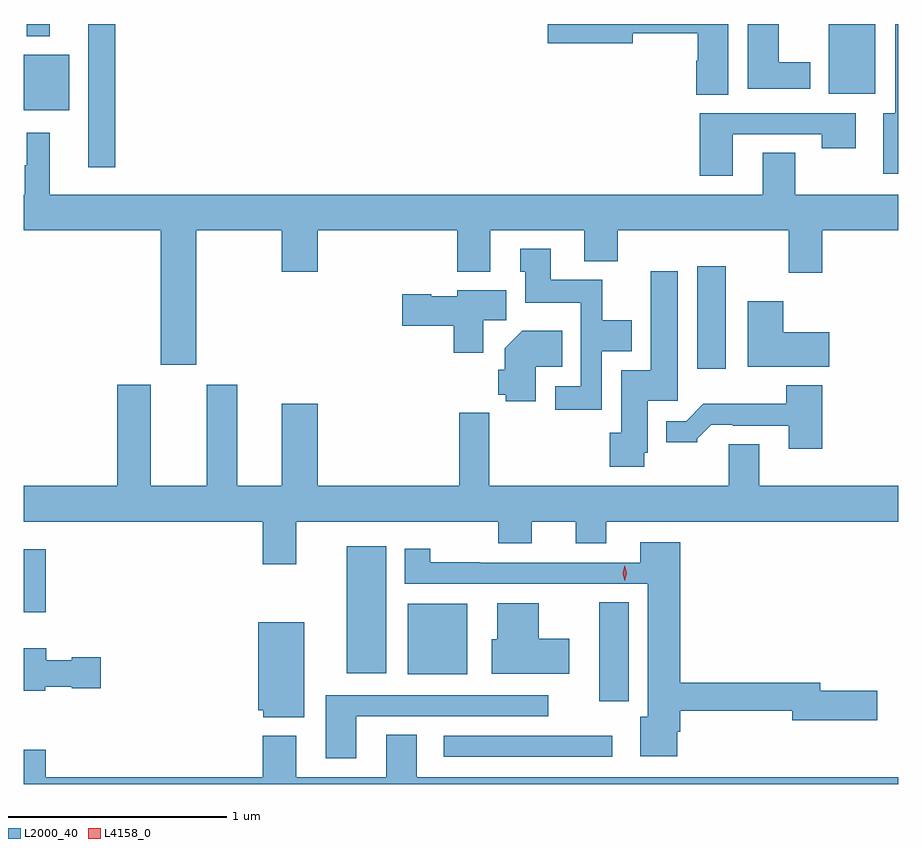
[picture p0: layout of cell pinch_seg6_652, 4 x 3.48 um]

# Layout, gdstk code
import gdstk
lib = gdstk.Library(unit=1e-6, precision=1e-09)
def R(c, l, rs):  # rectangles x0, y0, x1, y1
    for r in rs: c.add(gdstk.rectangle(r[:2], r[2:], *l))
def P(c, l, *ps):  # polygons
    for p in ps: c.add(gdstk.Polygon(p, *l))
L2000_40 = (2000, 40)
L4158_0 = (4158, 0)

pinch_seg6_652 = lib.new_cell('pinch_seg6_652')
R(pinch_seg6_652, L2000_40, [(405.507,915.624,406.279,915.72), (406.22,915.879,406.354,916.331), (405.344,916.001,405.616,916.324), (405.065,916.007,405.244,916.588), (403.587,916.286,403.688,916.573), (406.667,917.4,406.798,917.869), (403.883,918.321,404.005,918.976), (403.587,918.581,403.795,918.835), (407.27,918.656,407.482,918.976), (403.601,918.92,403.705,918.976)])
P(pinch_seg6_652, L2000_40, [(406.81,918.976),(405.984,918.976),(405.984,918.887),(406.372,918.887),(406.372,918.934),(406.669,918.934),(406.669,918.809),(406.664,918.809),(406.664,918.652),(406.81,918.652)],
  [(407.587,918.976),(407.573,918.976),(407.573,918.568),(407.519,918.568),(407.519,918.29),(407.587,918.29)],
  [(407.185,918.802),(407.041,918.802),(407.041,918.976),(406.898,918.976),(406.898,918.68),(407.185,918.68)],
  [(406.831,918.471),(407.236,918.471),(407.236,918.408),(407.392,918.408),(407.392,918.567),(406.679,918.567),(406.679,918.282),(406.831,918.282)],
  [(403.705,918.478),(403.601,918.478),(403.601,918.329),(403.591,918.329),(403.591,918.196),(403.587,918.196),(403.587,918.032),(404.213,918.032),(404.213,917.418),(404.377,917.418),(404.377,918.032),(404.768,918.032),(404.768,917.844),(404.932,917.844),(404.932,918.032),(405.569,918.032),(405.569,917.843),(405.721,917.843),(405.721,918.032),(406.151,918.032),(406.151,917.891),(406.304,917.891),(406.304,918.032),(407.087,918.032),(407.087,917.838),(407.24,917.838),(407.24,918.032),(407.587,918.032),(407.587,918.196),(407.115,918.196),(407.115,918.386),(406.967,918.386),(406.967,918.196),(403.705,918.196)],
  [(406.23,917.48),(406.369,917.48),(406.369,917.62),(406.233,917.62),(406.233,917.806),(405.997,917.806),(405.997,917.947),(405.857,917.947),(405.857,917.844),(405.881,917.844),(405.881,917.702),(406.134,917.702),(406.134,917.319),(406.017,917.319),(406.017,917.211),(406.23,917.211)],
  [(406.425,917.016),(406.441,917.016),(406.441,917.253),(406.579,917.253),(406.579,917.845),(406.454,917.845),(406.454,917.392),(406.319,917.392),(406.319,917.106),(406.268,917.106),(406.268,916.95),(406.425,916.95)],
  [(405.688,917.62),(405.793,917.62),(405.793,917.758),(405.57,917.758),(405.57,917.731),(405.45,917.731),(405.45,917.739),(405.318,917.739),(405.318,917.597),(405.554,917.597),(405.554,917.472),(405.688,917.472)],
  [(407.272,917.566),(407.062,917.566),(407.062,917.707),(406.898,917.707),(406.898,917.408),(407.272,917.408)],
  [(405.928,917.408),(406.049,917.408),(406.049,917.572),(405.866,917.572),(405.788,917.494),(405.788,917.394),(405.758,917.394),(405.758,917.28),(405.792,917.28),(405.792,917.251),(405.928,917.251)],
  [(404.833,916.7),(405.758,916.7),(405.758,916.601),(405.91,916.601),(405.91,916.7),(406.112,916.7),(406.112,916.601),(406.252,916.601),(406.252,916.7),(407.587,916.7),(407.587,916.864),(406.951,916.864),(406.951,917.054),(406.811,917.054),(406.811,916.864),(405.716,916.864),(405.716,917.197),(405.58,917.197),(405.58,916.864),(404.932,916.864),(404.932,917.239),(404.768,917.239),(404.768,916.864),(404.563,916.864),(404.563,917.326),(404.423,917.326),(404.423,916.864),(404.167,916.864),(404.167,917.326),(404.015,917.326),(404.015,916.864),(403.587,916.864),(403.587,916.7),(404.681,916.7),(404.681,916.506),(404.833,916.506)],
  [(407.24,917.323),(407.075,917.323),(407.075,917.239),(406.696,917.239),(406.617,917.16),(406.526,917.16),(406.526,917.063),(406.668,917.063),(406.668,917.078),(406.732,917.142),(406.831,917.142),(406.831,917.139),(407.087,917.139),(407.087,917.034),(407.24,917.034)],
  [(406.576,915.74),(406.589,915.74),(406.589,915.834),(407.102,915.834),(407.102,915.791),(407.491,915.791),(407.491,915.926),(407.23,915.926),(407.23,915.962),(406.589,915.962),(406.589,916.606),(406.406,916.606),(406.406,916.512),(405.674,916.512),(405.674,916.514),(405.447,916.514),(405.447,916.576),(405.329,916.576),(405.329,916.416),(406.442,916.416),(406.442,915.808),(406.406,915.808),(406.406,915.626),(406.576,915.626)],
  [(406.081,916.165),(405.943,916.165),(405.943,916.327),(405.752,916.327),(405.752,916.161),(405.728,916.161),(405.728,916.004),(406.081,916.004)],
  [(404.869,916.24),(404.66,916.24),(404.66,915.837),(404.682,915.837),(404.682,915.806),(404.869,915.806)],
  [(403.686,915.944),(403.806,915.944),(403.806,915.937),(403.939,915.937),(403.939,916.079),(403.806,916.079),(403.806,916.066),(403.69,916.066),(403.69,916.12),(403.587,916.12),(403.587,915.926),(403.686,915.926)],
  [(405.109,915.81),(405.985,915.81),(405.985,915.906),(404.969,915.906),(404.969,915.618),(405.109,915.618)],
  [(407.587,915.532),(405.385,915.532),(405.385,915.725),(405.245,915.725),(405.245,915.532),(404.833,915.532),(404.833,915.721),(404.681,915.721),(404.681,915.532),(403.688,915.532),(403.688,915.656),(403.587,915.656),(403.587,915.5),(407.587,915.5)])
P(pinch_seg6_652, L4158_0, [(406.336,916.429),(406.336,916.429),(406.326,916.465),(406.335,916.501),(406.335,916.501),(406.335,916.501),(406.346,916.465),(406.336,916.429)])

lib.write_gds('pinch_seg6_652.gds')
